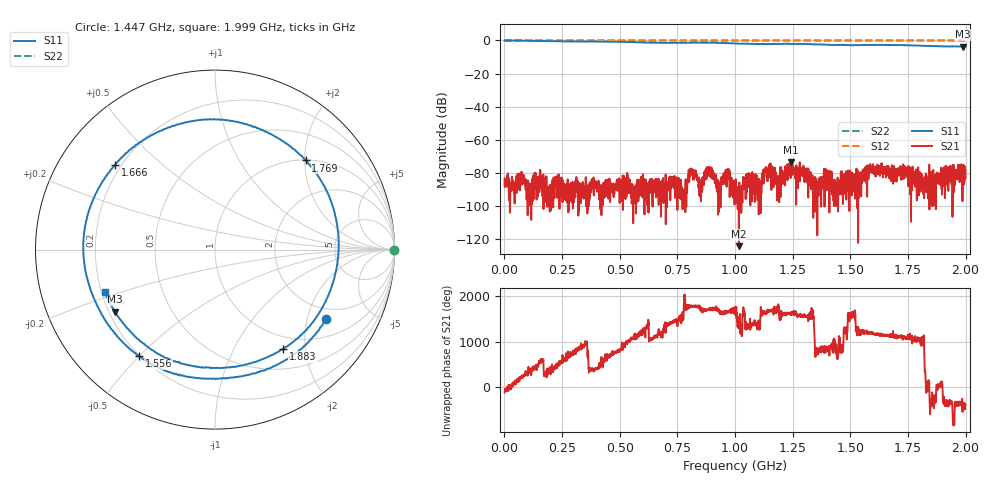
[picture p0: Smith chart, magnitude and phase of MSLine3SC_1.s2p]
! Anritsu VNA Master:  Model: MS2025B
! SN:  1642059
! /bd0/PROE/TP1/MSLine3SC_1.s2p
! Existing Calibration Information:
! TYPE:  Current Settings,  Active Cal Settings
! TIME:  04/16/2024 08:54:33 AM,  03/12/2018 11:45:53 AM
! INTERNAL TEMP:  42.5 C,  40.8 C
! # POINTS:  2857,  4001
! START FREQ:  1.000 MHz,  1.000 MHz
! STOP FREQ:  1.999 486 GHz,  2.800 GHz
! SOURCE POWER:  Default,  Default
! IFBW:  1 kHz,  1 kHz
! AVG FACTOR:  1 ,  1
! REF PLANE 1:  0 mm,  0 mm
! REF PLANE 2:  0 mm,  0 mm
! CAL TYPE:  1P2P S11,S21,  1P2P S11,S21
! CAL METHOD:  SOLT,  SOLT
! CAL LINE TYPE:  Coax,  Coax
! DUT PORT 1:  ,
! DUT PORT 2:  N-Conn(M),  N-Conn(M)
! CAL STATUS:  OK: Accuracy High,  --
# GHZ S MA R 50.0
! FREQ.GHZ  S11M  S11A  S21M  S21A  S12M  S12A  S22M  S22A
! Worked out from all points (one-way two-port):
!   2857 points, 1 MHz to 1.999 GHz, reference 50 ohm
!   highest |S21| = -73.58 dB at 1.242 GHz (marker M1); lowest = -124.3 dB at 1.017 GHz (marker M2)
!   lowest |S11| = -3.7 dB at 1.988 GHz (marker M3), VSWR 4.79, Z = 11.2 - j13.6 ohm
!   |S11| at or under -10 dB: nowhere
!   |S22| runs from 0.0 to 0.0 dB; largest |S21 - S12| = 1
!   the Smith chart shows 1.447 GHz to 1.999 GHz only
!   S11 on the Smith chart (normalised r, x): 1.447 GHz: 1.58, -2.61; 1.556 GHz: 0.20, -0.50; 1.666 GHz: 0.18, +0.36; 1.769 GHz: 1.01, +2.02; 1.883 GHz: 0.80, -1.60; 1.999 GHz: 0.21, -0.18
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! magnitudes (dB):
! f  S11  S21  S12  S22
! 1 MHz  0.0  -83.4  0.0  0.0
! 334.1 MHz  -0.6  -91.0  0.0  0.0
! 667.2 MHz  -1.4  -94.0  0.0  0.0
! 860.3 MHz  -1.3  -86.6  0.0  0.0
! 886.2 MHz  -1.4  -78.4  0.0  0.0
! 914.9 MHz  -1.4  -85.2  0.0  0.0
! 1 GHz  -1.8  -86.3  0.0  0.0
! 1.017 GHz  -1.9  -124.3  0.0  0.0
! 1.112 GHz  -2.1  -89.9  0.0  0.0
! 1.156 GHz  -2.1  -81.0  0.0  0.0
! 1.208 GHz  -2.0  -82.8  0.0  0.0
! 1.242 GHz  -2.0  -73.6  0.0  0.0
! 1.333 GHz  -2.3  -88.6  0.0  0.0
! 1.447 GHz  -2.7  -101.1  0.0  0.0
! 1.556 GHz  -2.7  -82.6  0.0  0.0
! 1.592 GHz  -2.8  -79.7  0.0  0.0
! 1.666 GHz  -2.7  -76.0  0.0  0.0
! 1.666 GHz  -2.7  -76.8  0.0  0.0
! 1.769 GHz  -3.0  -81.3  0.0  0.0
! 1.883 GHz  -3.5  -86.7  0.0  0.0
! 1.988 GHz  -3.7  -78.4  0.0  0.0
! 1.999 GHz  -3.6  -78.2  0.0  0.0
